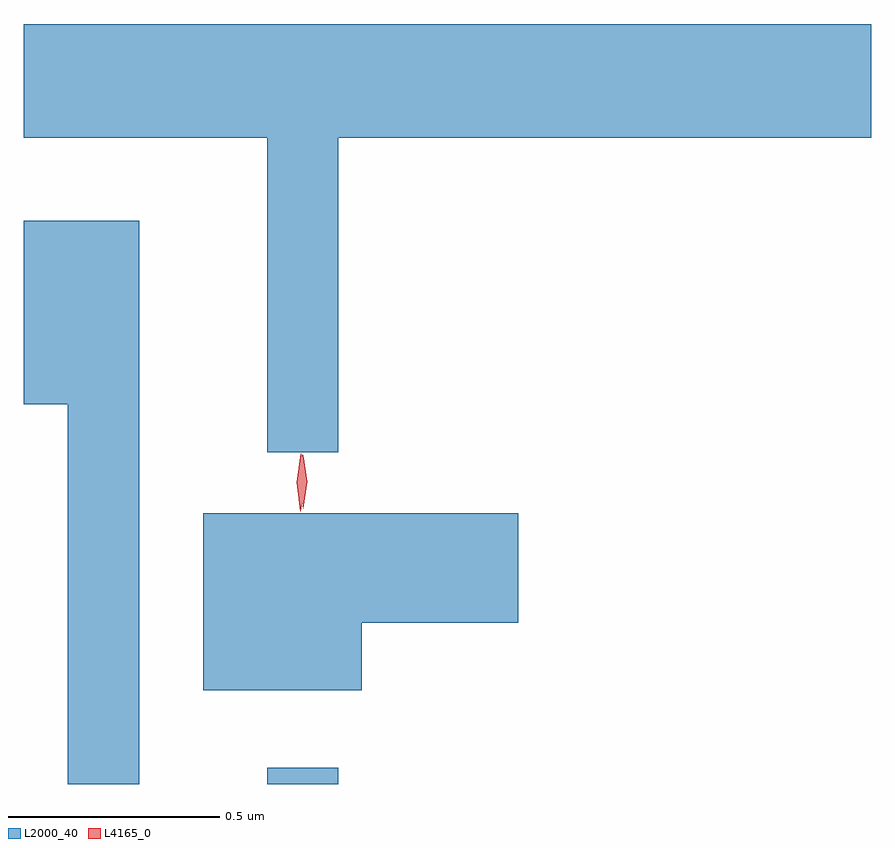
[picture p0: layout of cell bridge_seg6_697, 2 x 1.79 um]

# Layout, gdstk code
import gdstk
lib = gdstk.Library(unit=1e-6, precision=1e-09)
def R(c, l, rs):  # rectangles x0, y0, x1, y1
    for r in rs: c.add(gdstk.rectangle(r[:2], r[2:], *l))
def P(c, l, *ps):  # polygons
    for p in ps: c.add(gdstk.Polygon(p, *l))
L2000_40 = (2000, 40)
L4165_0 = (4165, 0)

bridge_seg6_697 = lib.new_cell('bridge_seg6_697')
R(bridge_seg6_697, L2000_40, [(238.951,1628.43,239.119,1628.468)])
P(bridge_seg6_697, L2000_40, [(239.119,1629.956),(240.377,1629.956),(240.377,1630.224),(238.377,1630.224),(238.377,1629.956),(238.951,1629.956),(238.951,1629.213),(239.119,1629.213)],
  [(238.649,1629.759),(238.377,1629.759),(238.377,1629.326),(238.481,1629.326),(238.481,1628.43),(238.649,1628.43)],
  [(239.174,1628.811),(239.544,1628.811),(239.544,1629.069),(238.801,1629.069),(238.801,1628.651),(239.174,1628.651)])
P(bridge_seg6_697, L4165_0, [(239.036,1629.08),(239.036,1629.081),(239.026,1629.144),(239.034,1629.206),(239.035,1629.207),(239.036,1629.206),(239.046,1629.144),(239.037,1629.081)],
  [(239.03,1629.074),(239.03,1629.074),(239.021,1629.142),(239.031,1629.21),(239.032,1629.21),(239.032,1629.21),(239.041,1629.142),(239.031,1629.074)])

lib.write_gds('bridge_seg6_697.gds')
